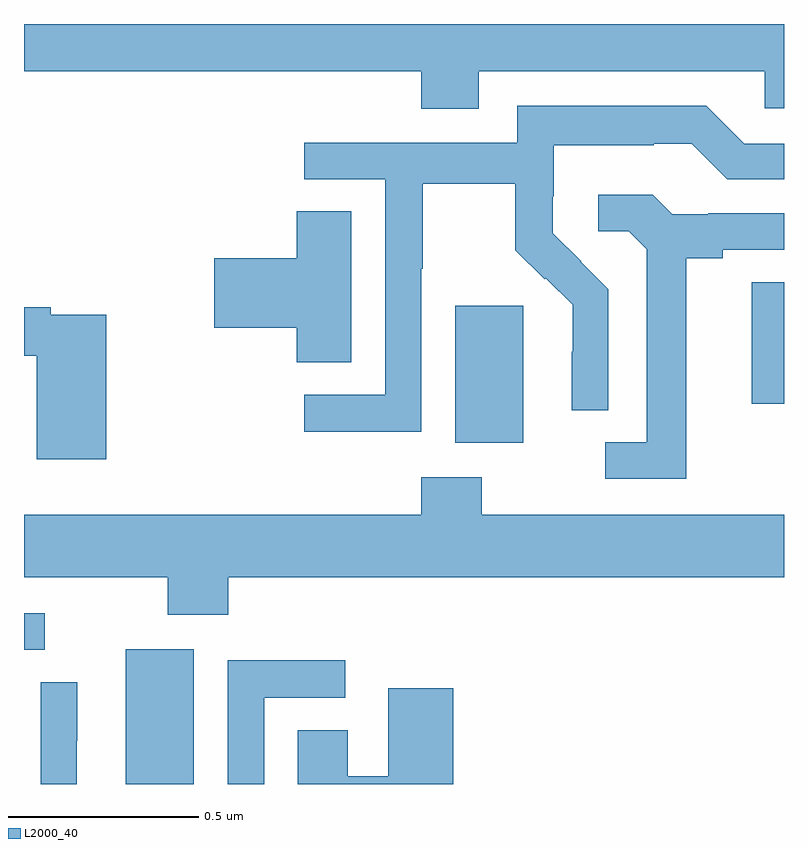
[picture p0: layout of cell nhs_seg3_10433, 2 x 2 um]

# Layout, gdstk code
import gdstk
lib = gdstk.Library(unit=1e-6, precision=1e-09)
def R(c, l, rs):  # rectangles x0, y0, x1, y1
    for r in rs: c.add(gdstk.rectangle(r[:2], r[2:], *l))
def P(c, l, *ps):  # polygons
    for p in ps: c.add(gdstk.Polygon(p, *l))
L2000_40 = (2000, 40)

nhs_seg3_10433 = lib.new_cell('nhs_seg3_10433')
R(nhs_seg3_10433, L2000_40, [(241.268,672.4,241.447,672.754), (241,672.753,241.054,672.849), (242.135,673.298,242.314,673.659), (242.915,673.401,243,673.721)])
P(nhs_seg3_10433, L2000_40, [(242.197,674.276),(242.949,674.276),(242.949,674.178),(243,674.178),(243,674.4),(241,674.4),(241,674.276),(242.045,674.276),(242.045,674.177),(242.197,674.177)],
  [(242.046,673.756),(242.049,673.756),(242.049,673.98),(242.293,673.98),(242.293,673.805),(242.37,673.728),(242.373,673.731),(242.444,673.661),(242.444,673.538),(242.442,673.538),(242.442,673.384),(242.538,673.384),(242.538,673.702),(242.465,673.775),(242.466,673.776),(242.392,673.85),(242.392,673.947),(242.394,673.947),(242.394,674.081),(242.657,674.081),(242.657,674.085),(242.757,674.085),(242.85,673.992),(243,673.992),(243,674.085),(242.895,674.085),(242.795,674.185),(242.298,674.185),(242.298,674.088),(241.737,674.088),(241.737,673.992),(241.95,673.992),(241.95,673.425),(241.737,673.425),(241.737,673.327),(242.046,673.327)],
  [(242.743,673.784),(242.839,673.784),(242.839,673.806),(243,673.806),(243,673.902),(242.8,673.902),(242.8,673.899),(242.706,673.899),(242.654,673.951),(242.511,673.951),(242.511,673.854),(242.592,673.854),(242.639,673.807),(242.639,673.299),(242.529,673.299),(242.529,673.203),(242.743,673.203)],
  [(241.861,673.907),(241.718,673.907),(241.718,673.784),(241.5,673.784),(241.5,673.601),(241.718,673.601),(241.718,673.51),(241.861,673.51)],
  [(241.217,673.635),(241.07,673.635),(241.07,673.655),(241,673.655),(241,673.527),(241.034,673.527),(241.034,673.254),(241.217,673.254)],
  [(241.538,672.944),(243,672.944),(243,673.108),(242.205,673.108),(242.205,673.207),(242.045,673.207),(242.045,673.108),(241,673.108),(241,672.944),(241.378,672.944),(241.378,672.845),(241.538,672.845)],
  [(241.632,672.627),(241.846,672.627),(241.846,672.726),(241.536,672.726),(241.536,672.4),(241.632,672.4)],
  [(241.139,672.514),(241.14,672.514),(241.14,672.668),(241.044,672.668),(241.044,672.4),(241.139,672.4)],
  [(242.129,672.652),(241.958,672.652),(241.958,672.421),(241.852,672.421),(241.852,672.542),(241.721,672.542),(241.721,672.4),(242.129,672.4)])

lib.write_gds('nhs_seg3_10433.gds')
